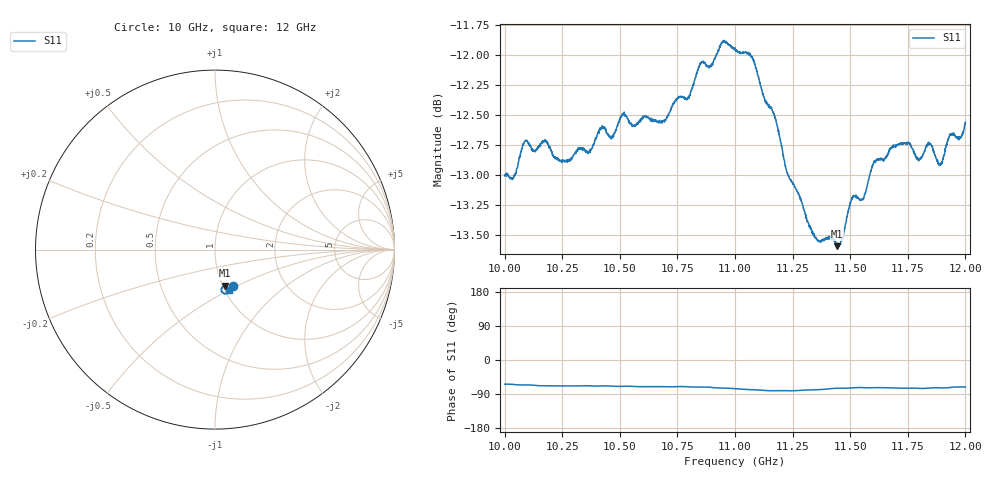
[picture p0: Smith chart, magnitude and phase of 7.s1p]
[Version] 2.0
! Rohde & Schwarz Vector Network Analyzer
! Rohde-Schwarz,ZNL20-2Port,1323001220200009,1.71.1.10-23.02.1.238
! Port Assignments:
! Nominal Port -> Actual Test Port
!  1 -> 1
! Created: GMT 2024-09-04 14:20:09
# Hz S DB R 50
[Number of Ports] 1
! freq[Hz]  S11[mag dB]  S11[ang]
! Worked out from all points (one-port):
!   2001 points, 10 GHz to 12 GHz, reference 50 ohm
!   lowest |S11| = -13.6 dB at 11.44 GHz (marker M1), VSWR 1.53, Z = 51.3 - j21.6 ohm
!   |S11| at or under -10 dB: start of sweep to end of sweep
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[Number of Frequencies] 28
[Network Data]
1e10  -13.00 -63.7
1.004e10  -13.02 -64.6
1.0092e10  -12.71 -65.7
1.025e10  -12.87 -68.5
1.0371e10  -12.80 -68.4
1.042e10  -12.61 -68.4
1.0467e10  -12.67 -69.1
1.05e10  -12.53 -69.6
1.0684e10  -12.56 -70.3
1.075e10  -12.37 -70.3
1.0797e10  -12.35 -70.7
1.0867e10  -12.07 -71.3
1.0947e10  -11.89 -74.1
1.1e10  -11.94 -75.6
1.1078e10  -12.03 -78.5
1.1149e10  -12.42 -81.2
1.125e10  -13.06 -81.1
1.1354e10  -13.53 -78.3
1.1444e10  -13.59 -74.5
1.15e10  -13.23 -73.8
1.1557e10  -13.19 -73.0
1.1609e10  -12.88 -73.0
1.175e10  -12.73 -74.4
1.1798e10  -12.87 -74.7
1.1847e10  -12.74 -73.9
1.189e10  -12.91 -73.5
1.1933e10  -12.67 -72.6
1.2e10  -12.56 -71.3
[End]
